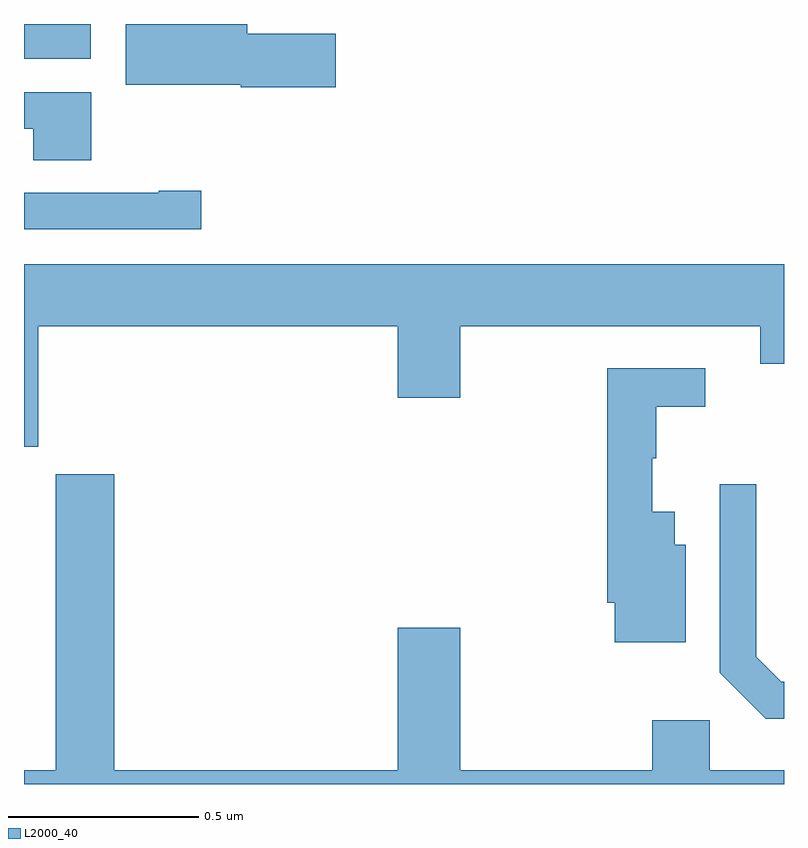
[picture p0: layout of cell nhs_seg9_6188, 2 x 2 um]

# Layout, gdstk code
import gdstk
lib = gdstk.Library(unit=1e-6, precision=1e-09)
def R(c, l, rs):  # rectangles x0, y0, x1, y1
    for r in rs: c.add(gdstk.rectangle(r[:2], r[2:], *l))
def P(c, l, *ps):  # polygons
    for p in ps: c.add(gdstk.Polygon(p, *l))
L2000_40 = (2000, 40)

nhs_seg9_6188 = lib.new_cell('nhs_seg9_6188')
R(nhs_seg9_6188, L2000_40, [(188,1246.409,188.176,1246.5)])
P(nhs_seg9_6188, L2000_40, [(188.821,1246.475),(188.588,1246.475),(188.588,1246.5),(188.268,1246.5),(188.268,1246.34),(188.571,1246.34),(188.571,1246.333),(188.821,1246.333)],
  [(188.177,1246.32),(188,1246.32),(188,1246.224),(188.024,1246.224),(188.024,1246.141),(188.177,1246.141)],
  [(188.467,1246.061),(188.354,1246.061),(188.354,1246.056),(188,1246.056),(188,1245.96),(188.467,1245.96)],
  [(188.038,1245.704),(188.984,1245.704),(188.984,1245.516),(189.148,1245.516),(189.148,1245.704),(189.938,1245.704),(189.938,1245.606),(190,1245.606),(190,1245.868),(188,1245.868),(188,1245.387),(188.038,1245.387)],
  [(189.742,1245.13),(189.712,1245.13),(189.712,1245.217),(189.653,1245.217),(189.653,1245.357),(189.664,1245.357),(189.664,1245.493),(189.793,1245.493),(189.793,1245.594),(189.535,1245.594),(189.535,1244.977),(189.554,1244.977),(189.554,1244.873),(189.742,1244.873)],
  [(190,1244.536),(189.804,1244.536),(189.804,1244.668),(189.653,1244.668),(189.653,1244.536),(189.148,1244.536),(189.148,1244.911),(188.984,1244.911),(188.984,1244.536),(188.237,1244.536),(188.237,1245.315),(188.084,1245.315),(188.084,1244.536),(188,1244.536),(188,1244.5),(190,1244.5)],
  [(190,1244.769),(189.993,1244.769),(189.927,1244.835),(189.927,1245.289),(189.831,1245.289),(189.831,1244.793),(189.952,1244.672),(190,1244.672)])

lib.write_gds('nhs_seg9_6188.gds')
